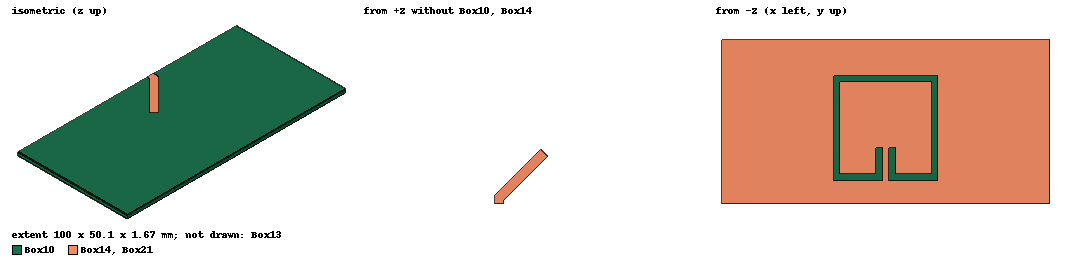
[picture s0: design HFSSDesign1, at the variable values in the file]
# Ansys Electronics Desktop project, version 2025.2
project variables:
  $length = 32mm
  $width = 32mm
  $Indent = 10mm
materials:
  vacuum: permittivity=1
  copper: permeability=0.999991 conductivity=58000000
  air: permittivity=1.0006 permeability=1.0000004
  graphite: conductivity=70000
  FR4_epoxy: permittivity=4.4 dielectric_loss_tangent=0.02
  cast_iron: permeability=60 conductivity=1500000
  CF - Carbon fiber: conductivity=252.337
  aluminum: permeability=1.000021 conductivity=38000000

design HFSSDesign1 (HFSS, HFSS Terminal Network, model units mm)
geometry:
  Box10 [FR4_epoxy] = box(corner=(50mm, 73mm, 0.8mm), size=(-100mm, 50mm, -1.6mm))
  Cylinder2 [CF - Carbon fiber, non-model] = cylinder(axis=X, base_centre=(-200mm, 0mm, 0mm), radius=73mm, height=400mm, segments=32)
  Cylinder3 = cylinder(axis=X, base_centre=(200mm, 0mm, 0mm), radius=70mm, height=-400mm)
  Cylinder2.subtract(Cylinder3)
  Box13 [air] = box(corner=(-250mm, 200mm, 100mm), size=(500mm, -400mm, -200mm))
  Box14 [copper] = box(corner=(50mm, 73mm, -0.8mm), size=(-100mm, 50mm, -0.035mm))
  Cylinder4 [aluminum, non-model] = cylinder(axis=X, base_centre=(-100mm, 0mm, 0mm), radius=70mm, height=200mm, segments=32)
  Cylinder5 = cylinder(axis=X, base_centre=(100mm, 0mm, 0mm), radius=66.5mm, height=-200mm)
  Cylinder4.subtract(Cylinder5)
  Box15 = box(corner=(50mm, 113mm, 0.035mm), size=($width, $length, 0mm))
  Box16 = box(corner=(52mm, 115mm, 0.035mm), size=($length-4mm, $width-4mm, 0mm))
  Box17 = box(corner=(53mm+$width/2-4mm, 113mm, 0.035mm), size=(2mm, 10mm, 0mm))
  Box18 = box(corner=(55mm+$width/2-4mm, 113mm, 0.035mm), size=(2mm, $Indent, 0mm))
  Box19 = box(corner=(51mm+$width/2-4mm, 113mm, 0.035mm), size=(2mm, $Indent, 0mm))
  Box15.subtract(Box16, Box17)
  Box15.unite(Box18, Box19)
  Box15.move(-66mm, -65mm, -0.835mm)
  coordinate_system RelativeCS1 = origin=(16mm, 76mm, -0.8mm) x=(1mm, 0mm, 0mm) y=(0mm, 1mm, 0mm)
  Box15.rotate(axis=Z, angle=0deg) in RelativeCS1
  Box20 = box(corner=(-2mm, 90.5mm, 0.8mm), size=(-20mm, 3mm, 0.035mm))
  coordinate_system RelativeCS2 = origin=(0mm, 0mm, 0mm) x=(-4mm, 4mm, 0mm) y=(-14mm, -2mm, 0mm)
  coordinate_system RelativeCS3 = origin=(70.003571mm, -60.104076mm, -0.835mm) x=(1mm, 0mm, 0mm) y=(0mm, 1mm, 0mm) in RelativeCS2
  Box20.rotate(axis=Z, angle=45deg) in RelativeCS3
  Box21 [copper] = box(corner=(-34.667262mm, 6.4540585mm, 1.6mm), size=(3mm, (-9.454058453982+7) mm, 0.035mm)) in RelativeCS1
  Box21.unite(Box20)
  Rectangle1 = rectangle(corner=(-31.667262mm, -3mm, 1.635mm), z_size=-1.67mm, x_size=-3mm) in RelativeCS1
  Box15.thicken(35um)
  Box15.move(0mm, 32mm, 0mm)
  Box14.subtract(Box15)
  Box21.move(6.6672619mm, -7.1mm, 0mm)
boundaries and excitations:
  Rad1: Radiation Objects=Box13
  Box21_T1: Terminal Faces=Box21.face(at (-10.5, 72.9, 0.8175)) TerminalResistance=50ohm
  1: Lumped Port Faces=Rectangle1.face LumpedPortType=Terminal Impedance=50ohm
  reference conductors: Box14
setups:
  Setup1: HfssDriven Frequency=0.985GHz MaxDeltaS=0.02 MaximumPasses=10 MinimumPasses=1 MinimumConvergedPasses=1 PercentRefinement=30 BasisOrder=1 PortAccuracy=2 DrivenSolverType="Direct Solver"
    sweep Sweep: 500MHz to 2000MHz, 100 points; Type=Interpolating InterpTolerance=0.5 InterpMaxSolns=50 PassivityErrorTolerance=0.0001
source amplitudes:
  1:1: 1 0
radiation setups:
  Infinite Sphere1: Infinite Sphere Theta=0deg..180deg step 2deg Phi=-180deg..180deg step 2deg
